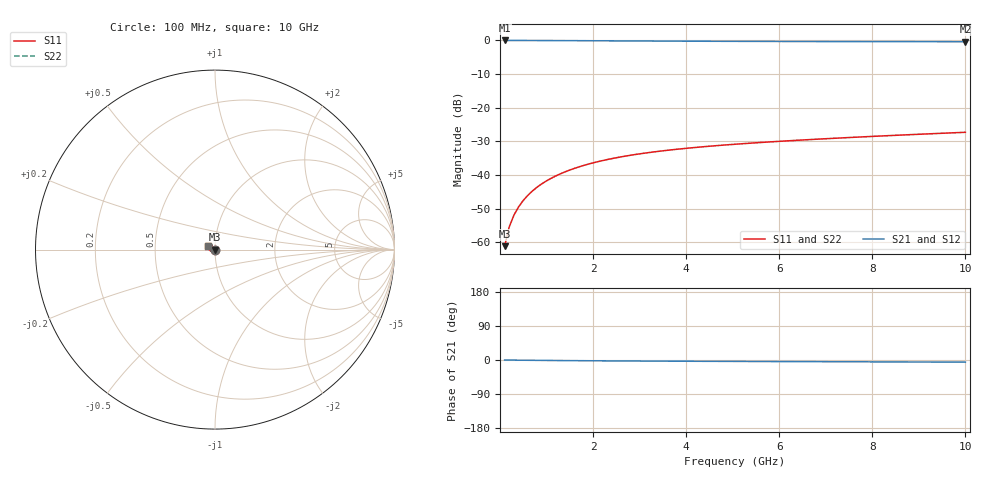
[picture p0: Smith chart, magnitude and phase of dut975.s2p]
! Touchstone file exported from HFSS 2024.1.0
!  File:  C:/UserFiles/LocalFiles/RDL_TSV_Batchsim/temp_TSV1_975_1779951607.aedt
!  Generated:  03:04:20 PM May 28, 2026
!  Design:  TSV1
!  Project:  temp_TSV1_975_1779951607
!  Setup:  Setup1
!  Solution:  Sweep
! Variables:
!  dtsv = 7.27um
!  hbump = 3um
!  htsv = 85.39um
!  lrdl = 252.1521522um
!  p = 40
!  p1 = 54.17um
!  t = 500um
!  trdl = 3um
!  wrdl = 24.89489489um
# GHz S MA R 50.000000
! Terminal data exported
! Port[1] = TSV22_T1
! Port[2] = TSV22_T2
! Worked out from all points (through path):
!   100 points, 100 MHz to 10 GHz, reference 50 ohm
!   highest |S21| = 0.00 dB at 100 MHz (marker M1); lowest = -0.4 dB at 10 GHz (marker M2)
!   lowest |S11| = -61.1 dB at 100 MHz (marker M3), VSWR 1.00, Z = 50 - j0.0845 ohm
!   |S11| at or under -10 dB: start of sweep to end of sweep
!   |S22| runs from -61.1 to -27.3 dB; largest |S21 - S12| = 3.2e-15
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0.1  0.0008815 -73.5  0.9997 -0.1  0.9997 -0.1  0.0008815 -73.5
! Gamma 0 0 0 0
! Port Impedance 50 0 50 0
0.2  0.001708 -84.7  0.9996 -0.2  0.9996 -0.2  0.001708 -84.7
0.3  0.002542 -90.1  0.9994 -0.4  0.9994 -0.4  0.002542 -90.1
0.4  0.003375 -93.8  0.9992 -0.5  0.9992 -0.5  0.003375 -93.8
0.5  0.004203 -96.9  0.9989 -0.6  0.9989 -0.6  0.004204 -96.9
0.6  0.005025 -99.7  0.9985 -0.7  0.9985 -0.7  0.005025 -99.7
0.7  0.005837 -102.3  0.9981 -0.8  0.9981 -0.8  0.005837 -102.3
0.8  0.00664 -104.7  0.9977 -0.9  0.9977 -0.9  0.00664 -104.7
0.9  0.007432 -107.1  0.9972 -1.0  0.9972 -1.0  0.007432 -107.1
1.1  0.008979 -111.6  0.996 -1.2  0.996 -1.2  0.008979 -111.6
1.4  0.01119 -117.9  0.9941 -1.5  0.9941 -1.5  0.01119 -117.9
1.6  0.0126 -122.0  0.9926 -1.7  0.9926 -1.7  0.0126 -122.0
1.8  0.01393 -125.9  0.9911 -1.9  0.9911 -1.9  0.01393 -125.9
2.1  0.01582 -131.4  0.9888 -2.1  0.9888 -2.1  0.01582 -131.4
2.5  0.01813 -138.4  0.9856 -2.4  0.9856 -2.4  0.01813 -138.4
2.9  0.0202 -144.8  0.9826 -2.7  0.9826 -2.7  0.0202 -144.8
3.4  0.02253 -152.2  0.9791 -3.0  0.9791 -3.0  0.02253 -152.2
4.2  0.02577 -162.7  0.9741 -3.4  0.9741 -3.4  0.02577 -162.7
5.1  0.02892 -172.8  0.9697 -3.7  0.9697 -3.7  0.02892 -172.8
6.7  0.03385 172.5  0.964 -4.4  0.964 -4.4  0.03385 172.5
8.4  0.03873 160.3  0.96 -5.0  0.96 -5.0  0.03873 160.3
10  0.04327 151.1  0.9574 -5.7  0.9574 -5.7  0.04327 151.1
